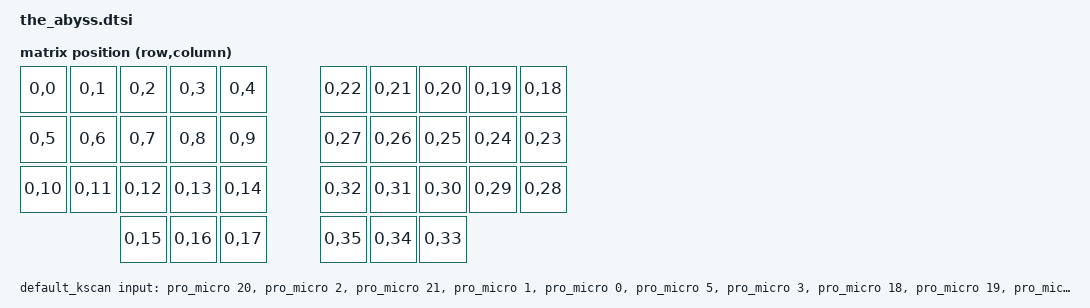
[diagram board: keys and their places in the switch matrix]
#include <dt-bindings/zmk/matrix_transform.h>

// nice!view setup
&pinctrl {
    spi0_default: spi0_default {
        group1 {
            psels = <NRF_PSEL(SPIM_SCK, 1, 2)>,
                    <NRF_PSEL(SPIM_MOSI, 1, 7)>,
                    <NRF_PSEL(SPIM_MISO, 10, 0)>;
        };
    };
    spi0_sleep: spi0_sleep {
        group1 {
            psels = <NRF_PSEL(SPIM_SCK, 1, 2)>,
                    <NRF_PSEL(SPIM_MOSI, 1, 7)>,
                    <NRF_PSEL(SPIM_MISO, 10, 0)>;
            low-power-enable;
        };
    };
};

nice_view_spi: &spi0 {
    compatible = "nordic,nrf-spim";
    pinctrl-0 = <&spi0_default>;
    pinctrl-1 = <&spi0_sleep>;
    pinctrl-names = "default", "sleep";
    cs-gpios = <&gpio1 1 GPIO_ACTIVE_HIGH>;
};

&pro_micro_i2c {
    status = "disabled";
};

// Key scan setup
/ {
    chosen {
        zmk,kscan = &default_kscan;
        zmk,matrix_transform = &default_transform;
    };

    default_transform: keymap_transform_0 {
        compatible = "zmk,matrix-transform";
        columns = <36>;
        rows = <1>;
        map = <
            RC(0,0)  RC(0,1)  RC(0,2)  RC(0,3)  RC(0,4)    RC(0,22) RC(0,21) RC(0,20) RC(0,19) RC(0,18)
            RC(0,5)  RC(0,6)  RC(0,7)  RC(0,8)  RC(0,9)    RC(0,27) RC(0,26) RC(0,25) RC(0,24) RC(0,23)
            RC(0,10) RC(0,11) RC(0,12) RC(0,13) RC(0,14)   RC(0,32) RC(0,31) RC(0,30) RC(0,29) RC(0,28)
                              RC(0,15) RC(0,16) RC(0,17)   RC(0,35) RC(0,34) RC(0,33)
        >;
    };

    default_kscan: kscan {
        compatible = "zmk,kscan-gpio-direct";
        label = "KSCAN";
        // top left to bottom right
        input-gpios =
            <&pro_micro 20 (GPIO_ACTIVE_LOW | GPIO_PULL_UP)>,
            <&pro_micro  2 (GPIO_ACTIVE_LOW | GPIO_PULL_UP)>,
            <&pro_micro 21 (GPIO_ACTIVE_LOW | GPIO_PULL_UP)>,
            <&pro_micro  1 (GPIO_ACTIVE_LOW | GPIO_PULL_UP)>,
            <&pro_micro  0 (GPIO_ACTIVE_LOW | GPIO_PULL_UP)>,

            <&pro_micro  5 (GPIO_ACTIVE_LOW | GPIO_PULL_UP)>,
            <&pro_micro  3 (GPIO_ACTIVE_LOW | GPIO_PULL_UP)>,
            <&pro_micro 18 (GPIO_ACTIVE_LOW | GPIO_PULL_UP)>,
            <&pro_micro 19 (GPIO_ACTIVE_LOW | GPIO_PULL_UP)>,
            <&pro_micro  4 (GPIO_ACTIVE_LOW | GPIO_PULL_UP)>,

            <&pro_micro 15 (GPIO_ACTIVE_LOW | GPIO_PULL_UP)>,
            <&pro_micro  6 (GPIO_ACTIVE_LOW | GPIO_PULL_UP)>,
            <&pro_micro 14 (GPIO_ACTIVE_LOW | GPIO_PULL_UP)>,
            <&pro_micro 10 (GPIO_ACTIVE_LOW | GPIO_PULL_UP)>,
            <&pro_micro 16 (GPIO_ACTIVE_LOW | GPIO_PULL_UP)>,

            <&pro_micro  9 (GPIO_ACTIVE_LOW | GPIO_PULL_UP)>,
            <&pro_micro  8 (GPIO_ACTIVE_LOW | GPIO_PULL_UP)>,
            <&pro_micro  7 (GPIO_ACTIVE_LOW | GPIO_PULL_UP)>
        ;
    };
};
